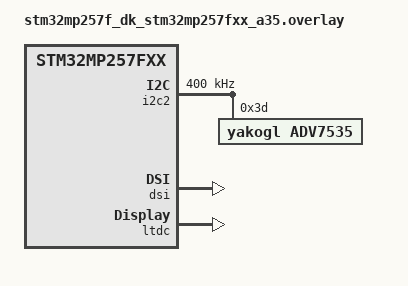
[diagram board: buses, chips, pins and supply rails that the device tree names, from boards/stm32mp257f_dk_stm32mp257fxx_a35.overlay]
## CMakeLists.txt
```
# SPDX-License-Identifier: Apache-2.0
# SPDX-FileCopyrightText: 2026 Signal Slot, Inc.
# mp2_display: the STM32MP257F-DK's display probe (README.md). LTDC -> DSI ->
# ADV7535 -> HDMI through the Zephyr display API, then eight colour bars.
#
#   west build -p always -b stm32mp257f_dk/stm32mp257fxx/a35 -d build/mp2_display \
#     yakogl/tools/probes/stm32mp257f_dk/mp2_display
cmake_minimum_required(VERSION 3.20.0)

# driver/ is a Zephyr module (the SoC, the board, the board layer, the
# display drivers). The overlay boards/stm32mp257f_dk_stm32mp257fxx_a35.overlay
# is picked up by name.
get_filename_component(PVR_REPO "${CMAKE_CURRENT_SOURCE_DIR}/../../../../driver" ABSOLUTE)
list(APPEND ZEPHYR_EXTRA_MODULES "${PVR_REPO}")

find_package(Zephyr REQUIRED HINTS $ENV{ZEPHYR_BASE})
project(mp2_display)

# The build prints its own commit first (a result row names its build).
execute_process(COMMAND git -C "${PVR_REPO}" describe --always --dirty
                OUTPUT_VARIABLE MP2_DISPLAY_BUILD OUTPUT_STRIP_TRAILING_WHITESPACE
                ERROR_QUIET RESULT_VARIABLE describe_rc)
if(NOT describe_rc EQUAL 0 OR MP2_DISPLAY_BUILD STREQUAL "")
  set(MP2_DISPLAY_BUILD "unknown")
endif()
target_compile_definitions(app PRIVATE MP2_DISPLAY_BUILD="${MP2_DISPLAY_BUILD}")
message(STATUS "mp2_display build: ${MP2_DISPLAY_BUILD}")

target_sources(app PRIVATE src/main.c src/pattern.c)

# Zero warnings in our C files with -DYAKOGL_WERROR=ON; off by default.
if(YAKOGL_WERROR)
  target_compile_options(app PRIVATE -Werror)
endif()
```

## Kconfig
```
# SPDX-License-Identifier: Apache-2.0
# SPDX-FileCopyrightText: 2026 Signal Slot, Inc.

config MP2_DISPLAY_HOLD_S
	int "Seconds the picture is held after the verdict line"
	default 60
	range 0 600
	help
	  After the PASS or FAIL line the probe keeps the scan-out running this
	  long before main() returns, so the runner's MP2_HOLD_S and the KVM
	  can see the picture. The board layer's lifetime
	  (CONFIG_YAKOGL_STM32MP2_LIFETIME_S) must cover it.

source "Kconfig.zephyr"
```

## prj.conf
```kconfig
# SPDX-License-Identifier: Apache-2.0
# SPDX-FileCopyrightText: 2026 Signal Slot, Inc.
# The board defconfig has the console; the board layer (stm32mp2.c) prints
# the banner and the hand-over record and resets through PSCI at the end;
# stm32mp2_wdog.c arms OP-TEE's watchdog at boot.
CONFIG_PRINTK=y
CONFIG_EARLY_CONSOLE=y
CONFIG_YAKOGL_STM32MP2_WDOG=y

# The display path: the four drivers are enabled by the overlay's nodes.
CONFIG_DISPLAY=y
CONFIG_I2C=y
CONFIG_MIPI_DSI=y
CONFIG_GPIO=y

# The layer resets the board this long after boot; the probe holds the
# picture CONFIG_MP2_DISPLAY_HOLD_S (60) after its verdict, so it must be
# well beyond that.
CONFIG_YAKOGL_STM32MP2_LIFETIME_S=150
```

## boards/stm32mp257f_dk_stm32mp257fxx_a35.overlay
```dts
/*
 * SPDX-License-Identifier: Apache-2.0
 * SPDX-FileCopyrightText: 2026 Signal Slot, Inc.
 *
 * mp2_display: the DK's display path as ST's tree has it, LTDC -> DSI ->
 * ADV7535 -> HDMI, as yakogl devices. The probe's own overlay: the board
 * and SoC files stay without it.
 *
 *   &i2c2    stm32mp251.dtsi:935-936 (0x40130000), the bus of the bridge
 *            (stm32mp257f-dk.dts:395)
 *   adv7535  stm32mp257f-dk.dts:428-433: reg 0x3d with the secondary maps
 *            0x3f (edid), 0x3c (cec), 0x38 (packet), four DSI lanes
 *   dsi      stm32mp255.dtsi:123-133 (0x48000000), its output to the bridge
 *            (stm32mp257f-dk.dts:328-350)
 *   ltdc     stm32mp251.dtsi:2150 (0x48010000), its output to the DSI
 *            (stm32mp257f-dk.dts:536-547)
 *   ltdc_fb  the frame buffer, 0xb0000000, 32 MiB no-map: past the image's
 *            load end, inside RISAF4 region 9 (non-secure, CID0/1 r/w),
 *            below 4 GiB (docs/notes/stm32mp257f-dk-display-bringup.md,
 *            "Where the image lives and the proposed framebuffer")
 *
 * The clocks are what the board layer's power-on sets and reads back
 * (display_power_mp2.c over soc::stm32mp2::display): ck_ker_i2c2 is
 * FLEXGEN_12 at 100 MHz, the DSI PHY reference FLEXGEN_28 at 27 MHz, the
 * LTDC's pixel clock FLEXGEN_27 at the chosen mode's rate.
 *
 * Left out, on purpose:
 *   - the bridge's INT (GPIO B4) and reset (GPIO B6) lines
 *     (stm32mp257f-dk.dts:436-438): the board layer configures both pins and
 *     pulses the reset; no GPIO controller in this tree, the HPD is read
 *     from the chip.
 *   - interrupts of the LTDC (frames and flips are polled).
 */

/ {
	chosen {
		yakogl,ltdc-fb = &ltdc_fb;
	};

	reserved-memory {
		ltdc_fb: framebuffer@b0000000 {
			reg = <0xb0000000 DT_SIZE_M(32)>;
			no-map;
		};
	};

	soc {
		i2c2: i2c@40130000 {
			compatible = "yakogl,stm32mp2-i2c";
			reg = <0x40130000 0x400>;
			#address-cells = <1>;
			#size-cells = <0>;
			clock-frequency = <400000>;
			kernel-clock-frequency = <100000000>;
			status = "okay";

			adv7535: hdmi@3d {
				compatible = "yakogl,adv7535";
				reg = <0x3d>;
				edid-reg = <0x3f>;
				cec-reg = <0x3c>;
				packet-reg = <0x38>;
				adi,dsi-lanes = <4>;
				status = "okay";
			};
		};

		dsi: dsi@48000000 {
			compatible = "yakogl,stm32-dsi";
			reg = <0x48000000 0x800>;
			data-lanes = <4>;
			bridge = <&adv7535>;
			pll-ref-frequency = <27000000>;
			/* the LTDC driver sets the chosen mode's (stm32_dsi_set_mode) */
			pixel-clock-frequency = <148500000>;
			status = "okay";
		};

		/* hactive x vactive: the largest mode the driver may choose,
		 * 1920x1080@60 when the EDID prefers it, else 1280x720@60; one
		 * 1080p XRGB8888 frame (pitch 7680) fits fb-size. */
		ltdc: display-controller@48010000 {
			compatible = "yakogl,stm32-ltdc";
			reg = <0x48010000 0x400>;
			hactive = <1920>;
			vactive = <1080>;
			pixel-format = "argb8888";
			fb-size = <0x800000>;
			dsi-host = <&dsi>;
			status = "okay";
		};
	};
};
```

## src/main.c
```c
/* SPDX-License-Identifier: Apache-2.0 */
/* SPDX-FileCopyrightText: 2026 Signal Slot, Inc. */
/*
 * mp2_display: brings the DK's chain up through the LTDC display device (the
 * chain owner, display_yakogl_stm32_ltdc.c; the board layer powered the path
 * before, display_power_mp2.c), writes the eight colour bars (pattern.c,
 * what display_check/colorbars.py judges) line by line with display_write(),
 * turns blanking off, checks MP2_DISPLAY_FRAMES frames and prints
 *   mp2_display: PASS: <w>x<h> <fmt> <n> frames
 *   mp2_display: FAIL: <step> <err>
 * PASS only when the chain is up (LTDC on, DSI streaming, ADV7535 started)
 * and every frame came with no transfer or underrun error. It then keeps
 * scanning out CONFIG_MP2_DISPLAY_HOLD_S seconds (one frame checked a
 * second), so the runner's MP2_HOLD_S and the KVM can see the picture. The
 * board layer (stm32mp2.c) resets the board through PSCI at its lifetime.
 *
 * The LTDC's frame CRC (ip::stm32_ltdc) is not in the C ABI
 * (yakogl_mp25_display.h): the frame check is the LTDC's line interrupt and
 * error flags.
 */
#include <zephyr/kernel.h>
#include <zephyr/device.h>
#include <zephyr/devicetree.h>
#include <zephyr/drivers/display.h>
#include <zephyr/sys/printk.h>

#include <yakogl_mp25_display.h>
#include <yakogl_drv/adv7535.h>
#include <yakogl_drv/stm32_dsi.h>
#include <yakogl_drv/stm32_ltdc.h>

#include "pattern.h"

#define LTDC_NODE DT_NODELABEL(ltdc)
#define DSI_NODE  DT_PHANDLE(LTDC_NODE, dsi_host)
#define ADV_NODE  DT_PHANDLE(DSI_NODE, bridge)

BUILD_ASSERT(DT_NODE_HAS_STATUS_OKAY(LTDC_NODE), "the overlay enables the ltdc node");
BUILD_ASSERT(CONFIG_MP2_DISPLAY_HOLD_S + 20 < CONFIG_YAKOGL_STM32MP2_LIFETIME_S,
	     "the board layer's lifetime covers the hold");

/* Frames that must come clean before PASS: one second at 60 Hz. */
#define MP2_DISPLAY_FRAMES 60

/* One line of the largest mode the node allows; the bars are vertical, so
 * every line is the same. */
#define LINE_W DT_PROP(LTDC_NODE, hactive)
static uint8_t line[LINE_W * 4] __aligned(64);
static uint32_t rust_line[LINE_W];

static int fail(const char *step, int err)
{
	printk("mp2_display: FAIL: %s %d\n", step, err);
	return err;
}

static const char *const step_names[] = {
	"none", "board", "fb", "adv-init", "mode", "clock", "ltdc-probe", "ltdc-configure",
	"ltdc-enable", "dsi-mode", "dsi", "adv-start", "frame", "i2c",
};

static void print_record(const struct stm32_ltdc_status *st, const struct device *dsi,
			 const struct device *adv)
{
	const struct yd_mp25_dsi_data *dd = stm32_dsi_data(dsi);
	const struct yd_mp25_adv7535_data *ad = adv7535_data(adv);
	const struct yd_mp25_mode *m = &st->mode;

	printk("mp2_display: chain step %s err %d, hpd %u, edid %u (header %02x %02x, ext %u), "
	       "choice %d\n",
	       st->step < ARRAY_SIZE(step_names) ? step_names[st->step] : "?", (int)st->err,
	       st->hpd, st->edid_ok, st->edid[0], st->edid[1], st->edid[126], (int)st->choice);
	printk("mp2_display: mode %ux%u %u Hz h %u/%u/%u v %u/%u/%u flags 0x%x, %s vic %u\n",
	       m->hactive, m->vactive, m->pixel_clock_hz, m->hfront, m->hsync, m->hback,
	       m->vfront, m->vsync, m->vback, m->flags, st->sink.hdmi ? "hdmi" : "dvi",
	       st->sink.vic);
	printk("mp2_display: ltdc hwver 0x%06x bus %u layers %u on %u, pitch %u, fb 0x%llx, "
	       "clock %u Hz\n",
	       st->ltdc.hwver, st->ltdc.bus_bytes, st->ltdc.layers, st->ltdc.on, st->pitch,
	       (unsigned long long)st->fb_phys, st->pixel_clock_hz);
	if (dd != NULL) {
		printk("mp2_display: dsi on %u lanes %u lane %u kbit/s (timings %u Mbit/s) pll "
		       "idf %u ndiv %u odf %u, hline %u, failed step %u errno %d\n",
		       dd->on, dd->lanes, dd->lane_kbps, dd->lane_mbps, dd->pll_idf, dd->pll_ndiv,
		       dd->pll_odf, dd->hline, dd->failed_step, (int)dd->failed_errno);
	}
	if (ad != NULL) {
		printk("mp2_display: adv7535 rev 0x%02x hpd %u started %u\n", ad->revision, ad->hpd,
		       ad->started);
	}
}

/* pattern.c's line against the crate's yd_mp25_fill_color_bars (both claim
 * colorbars.py's order); a note only: pattern.c is the one the host test
 * judges. */
static void compare_bars(unsigned int w)
{
	const uint32_t *ours = (const uint32_t *)line;
	int rc = yd_mp25_fill_color_bars(rust_line, w, w, 1, w);

	if (rc != 0) {
		printk("mp2_display: bars: yd_mp25_fill_color_bars %d\n", rc);
		return;
	}
	for (unsigned int x = 0; x < w; x++) {
		if (ours[x] != rust_line[x]) {
			printk("mp2_display: bars: differ at x %u: 0x%08x, crate 0x%08x\n", x,
			       ours[x], rust_line[x]);
			return;
		}
	}
	printk("mp2_display: bars: equal to the crate's\n");
}

static int show(const struct device *dev, const char **fmt_name, unsigned int *w,
		unsigned int *h, int *frames)
{
	const struct device *dsi = DEVICE_DT_GET(DSI_NODE);
	const struct device *adv = DEVICE_DT_GET(ADV_NODE);
	const struct stm32_ltdc_status *st;
	const struct yd_mp25_dsi_data *dd;
	const struct yd_mp25_adv7535_data *ad;
	struct display_capabilities caps;
	struct display_buffer_descriptor desc;
	enum pattern_format pf;
	size_t row;
	uint32_t isr = 0;
	int err;

	if (!device_is_ready(dev)) {
		return fail("ltdc-ready", -ENODEV);
	}
	st = stm32_ltdc_status(dev);
	display_get_capabilities(dev, &caps);
	if (caps.x_resolution == 0u || caps.y_resolution == 0u) {
		print_record(st, dsi, adv);
		return fail(st->step < ARRAY_SIZE(step_names) ? step_names[st->step] : "select",
			    st->err != 0 ? st->err : -EIO);
	}
	switch (caps.current_pixel_format) {
	case PIXEL_FORMAT_ARGB_8888:
		pf = PATTERN_ARGB8888;
		*fmt_name = "argb8888";
		break;
	case PIXEL_FORMAT_RGB_565:
		pf = PATTERN_RGB565;
		*fmt_name = "rgb565";
		break;
	default:
		return fail("format", -ENOTSUP);
	}
	*w = caps.x_resolution;
	*h = caps.y_resolution;
	row = (size_t)*w * pattern_bpp(pf);
	if (*w > LINE_W || row > sizeof(line)) {
		return fail("size", -EINVAL);
	}

	err = pattern_fill(line, *w, 1, row, pf);
	if (err) {
		return fail("pattern", err);
	}
	if (pf == PATTERN_ARGB8888) {
		compare_bars(*w);
	}
	desc = (struct display_buffer_descriptor){
		.buf_size = row,
		.width = *w,
		.height = 1,
		.pitch = *w,
		.frame_incomplete = false,
	};
	for (unsigned int y = 0; y < *h; y++) {
		err = display_write(dev, 0, y, &desc, line);
		if (err) {
			return fail("write", err);
		}
	}

	err = display_blanking_off(dev);
	print_record(st, dsi, adv);
	if (err) {
		return fail(st->step < ARRAY_SIZE(step_names) ? step_names[st->step]
							     : "blanking-off",
			    err);
	}
	dd = stm32_dsi_data(dsi);
	ad = adv7535_data(adv);
	if (!st->on || !st->ltdc.on || dd == NULL || !dd->on || ad == NULL || !ad->started) {
		return fail("chain", -EIO);
	}

	/* The frame path: every frame's line interrupt, no error flag. */
	for (*frames = 0; *frames < MP2_DISPLAY_FRAMES; (*frames)++) {
		err = stm32_ltdc_wait_frame(dev, &isr);
		if (err) {
			printk("mp2_display: frame %d: isr 0x%x\n", *frames, isr);
			return fail("frame", err);
		}
	}
	return 0;
}

int main(void)
{
	const struct device *dev = DEVICE_DT_GET(LTDC_NODE);
	const char *fmt = "?";
	unsigned int w = 0, h = 0;
	int frames = 0;
	int good = 0, bad = 0;
	bool up;

	printk("mp2_display: build %s, hold %d s\n", MP2_DISPLAY_BUILD, CONFIG_MP2_DISPLAY_HOLD_S);
	up = show(dev, &fmt, &w, &h, &frames) == 0;
	if (up) {
		printk("mp2_display: PASS: %ux%u %s %d frames\n", w, h, fmt, frames);
	}
	/* The picture (or the failure) stays up for the runner and the KVM. */
	for (int s = 0; s < CONFIG_MP2_DISPLAY_HOLD_S; s++) {
		k_sleep(K_SECONDS(1));
		if (up) {
			uint32_t isr = 0;

			if (stm32_ltdc_wait_frame(dev, &isr) == 0) {
				good++;
			} else {
				bad++;
				printk("mp2_display: hold: frame at %d s failed, isr 0x%x\n", s, isr);
			}
		}
	}
	if (up) {
		printk("mp2_display: hold: %d frames ok, %d failed\n", good, bad);
	}
	return 0;
}
```

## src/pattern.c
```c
/* SPDX-License-Identifier: Apache-2.0 */
/* SPDX-FileCopyrightText: 2026 Signal Slot, Inc. */
#include "pattern.h"

#include <string.h>

/* colorbars.py BARS: white, yellow, cyan, green, magenta, red, blue, black. */
static const uint8_t bars[PATTERN_BARS][3] = {
	{255, 255, 255}, {255, 255, 0}, {0, 255, 255}, {0, 255, 0},
	{255, 0, 255},   {255, 0, 0},   {0, 0, 255},   {0, 0, 0},
};

unsigned int pattern_bpp(enum pattern_format fmt)
{
	switch (fmt) {
	case PATTERN_ARGB8888:
		return 4;
	case PATTERN_RGB888:
		return 3;
	default:
		return 2;
	}
}

void pattern_bar_rgb(unsigned int i, uint8_t rgb[3])
{
	memcpy(rgb, bars[i % PATTERN_BARS], 3);
}

unsigned int pattern_bar_of(unsigned int x, unsigned int w)
{
	return (unsigned int)(((uint64_t)x * PATTERN_BARS) / w);
}

static void put(uint8_t *p, enum pattern_format fmt, const uint8_t *c)
{
	uint32_t v;

	switch (fmt) {
	case PATTERN_ARGB8888:
		p[0] = c[2];
		p[1] = c[1];
		p[2] = c[0];
		p[3] = 0xff;
		break;
	case PATTERN_RGB888:
		p[0] = c[2];
		p[1] = c[1];
		p[2] = c[0];
		break;
	default:
		v = ((uint32_t)(c[0] >> 3) << 11) | ((uint32_t)(c[1] >> 2) << 5) | (c[2] >> 3);
		p[0] = v & 0xff;
		p[1] = (v >> 8) & 0xff;
		break;
	}
}

int pattern_fill(void *buf, unsigned int width, unsigned int height, size_t stride,
		 enum pattern_format fmt)
{
	unsigned int bpp = pattern_bpp(fmt);
	uint8_t *line = buf;

	if (buf == NULL || width == 0 || height == 0 || stride < (size_t)width * bpp) {
		return -1;
	}
	/* Line 0 is built once and copied: the bars do not vary by row. */
	for (unsigned int x = 0; x < width; x++) {
		put(line + (size_t)x * bpp, fmt, bars[pattern_bar_of(x, width)]);
	}
	memset(line + (size_t)width * bpp, 0, stride - (size_t)width * bpp);
	for (unsigned int y = 1; y < height; y++) {
		memcpy(line + (size_t)y * stride, line, stride);
	}
	return 0;
}
```

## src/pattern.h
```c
/* SPDX-License-Identifier: Apache-2.0 */
/* SPDX-FileCopyrightText: 2026 Signal Slot, Inc. */
/*
 * pattern.h -- the mp2_display probe's colour bars. No Zephyr include: the
 * host test (test/pattern_test.sh) compiles pattern.c with the host cc.
 */
#ifndef MP2_DISPLAY_PATTERN_H
#define MP2_DISPLAY_PATTERN_H

#include <stddef.h>
#include <stdint.h>

#define PATTERN_BARS 8

enum pattern_format {
	PATTERN_ARGB8888, /* 32-bit word 0xAARRGGBB, little endian, alpha 0xff */
	PATTERN_RGB888,   /* bytes B, G, R */
	PATTERN_RGB565,   /* 16-bit word RRRRRGGGGGGBBBBB */
};

/* Bytes per pixel of a format. */
unsigned int pattern_bpp(enum pattern_format fmt);

/* The RGB of bar i (0..7): white, yellow, cyan, green, magenta, red, blue,
 * black, the order tools/probes/stm32mp257f_dk/display_check/colorbars.py
 * judges.
 */
void pattern_bar_rgb(unsigned int i, uint8_t rgb[3]);

/* The bar column x of a width-w picture is in: x * 8 / w. */
unsigned int pattern_bar_of(unsigned int x, unsigned int w);

/* Fill height lines of a linear buffer, stride bytes apart, with the 8
 * vertical bars. The padding after each line (stride - width * bpp) is
 * zeroed. Returns 0, or -1 for a stride too small or a zero size.
 */
int pattern_fill(void *buf, unsigned int width, unsigned int height, size_t stride,
		 enum pattern_format fmt);

#endif
```
